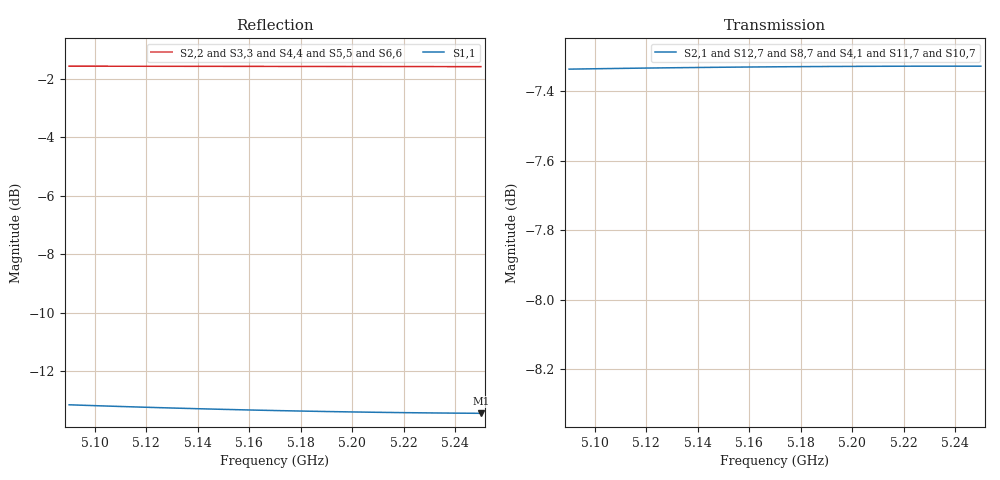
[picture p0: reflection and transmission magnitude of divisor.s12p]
! Touchstone file exported from HFSS 2024.2.0
!  File:  D:/dev/EMBRAER/P1H/R03_Estudo/ZYF300CA-P/compacta/1x5/Compacta_ZYF300CA_P_1x5.aedt
!  Generated:  12:14:47 AM Nov  7, 2026
!  Design:  Duplo_radial
!  Project:  Compacta_ZYF300CA_P_1x5
!  Setup:  Divisor
!  Solution:  Banda
# GHz S RI R 50.000000
! Terminal data exported
! Port[1] = A_IN
! Port[2] = A1
! Port[3] = A2
! Port[4] = A3
! Port[5] = A4
! Port[6] = A5
! Port[7] = B_IN
! Port[8] = B1
! Port[9] = B2
! Port[10] = B3
! Port[11] = B4
! Port[12] = B5
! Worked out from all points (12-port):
!   17 points, 5.09 GHz to 5.25 GHz, reference 50 ohm
!   strongest paths, dB at 5.09 GHz, 5.13 GHz, 5.17 GHz, 5.21 GHz, 5.25 GHz:
!     S2,1: -7.3, -7.3, -7.3, -7.3, -7.3
!     S12,7: -7.3, -7.3, -7.3, -7.3, -7.3
!     S8,7: -7.3, -7.3, -7.3, -7.3, -7.3
!     S4,1: -7.3, -7.3, -7.3, -7.3, -7.4
!     S11,7: -7.4, -7.3, -7.3, -7.3, -7.3
!     S10,7: -7.3, -7.3, -7.3, -7.3, -7.4
!   lowest |S11| = -13.5 dB at 5.25 GHz (marker M1), VSWR 1.54, Z = 57.5 - j22.1 ohm
!   |S11| at or under -10 dB: start of sweep to end of sweep
